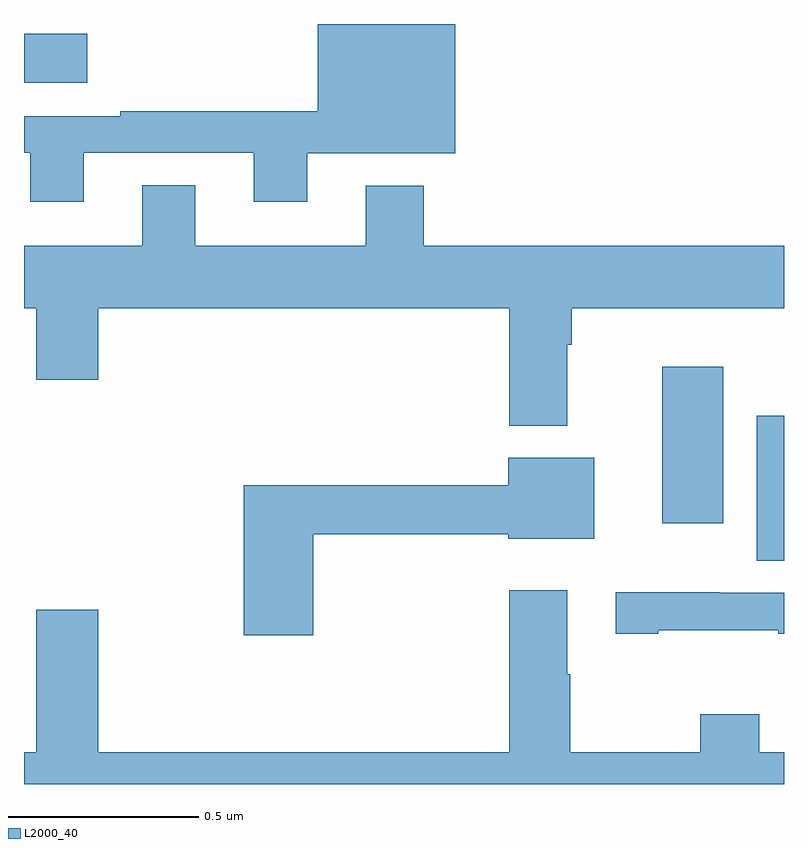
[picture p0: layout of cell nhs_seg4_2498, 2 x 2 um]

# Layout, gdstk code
import gdstk
lib = gdstk.Library(unit=1e-6, precision=1e-09)
def R(c, l, rs):  # rectangles x0, y0, x1, y1
    for r in rs: c.add(gdstk.rectangle(r[:2], r[2:], *l))
def P(c, l, *ps):  # polygons
    for p in ps: c.add(gdstk.Polygon(p, *l))
L2000_40 = (2000, 40)

nhs_seg4_2498 = lib.new_cell('nhs_seg4_2498')
R(nhs_seg4_2498, L2000_40, [(142.928,797.488,143,797.869), (142.679,797.586,142.84,797.998), (141,798.746,141.166,798.874)])
P(nhs_seg4_2498, L2000_40, [(141.157,798.561),(141.605,798.561),(141.605,798.432),(141.745,798.432),(141.745,798.56),(142.135,798.56),(142.135,798.9),(141.773,798.9),(141.773,798.67),(141.253,798.67),(141.253,798.657),(141,798.657),(141,798.561),(141.017,798.561),(141.017,798.432),(141.157,798.432)],
  [(142.277,797.843),(142.429,797.843),(142.429,798.056),(142.442,798.056),(142.442,798.152),(143,798.152),(143,798.316),(142.052,798.316),(142.052,798.475),(141.899,798.475),(141.899,798.316),(141.451,798.316),(141.451,798.476),(141.311,798.476),(141.311,798.316),(141,798.316),(141,798.152),(141.032,798.152),(141.032,797.964),(141.196,797.964),(141.196,798.152),(142.277,798.152)],
  [(141.761,797.557),(142.274,797.557),(142.274,797.546),(142.501,797.546),(142.501,797.758),(142.274,797.758),(142.274,797.686),(141.578,797.686),(141.578,797.292),(141.761,797.292)],
  [(143,796.984),(142.935,796.984),(142.935,797.083),(142.78,797.083),(142.78,796.984),(142.437,796.984),(142.437,797.189),(142.429,797.189),(142.429,797.41),(142.277,797.41),(142.277,796.984),(141.196,796.984),(141.196,797.359),(141.032,797.359),(141.032,796.984),(141,796.984),(141,796.9),(143,796.9)],
  [(142.669,797.305),(142.985,797.305),(142.985,797.295),(143,797.295),(143,797.403),(142.832,797.403),(142.832,797.405),(142.557,797.405),(142.557,797.295),(142.669,797.295)])

lib.write_gds('nhs_seg4_2498.gds')
